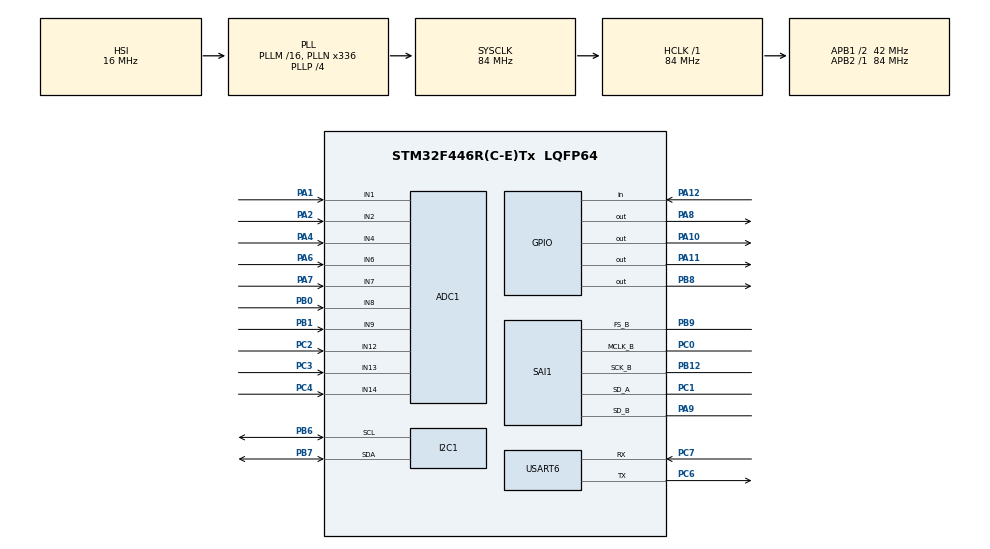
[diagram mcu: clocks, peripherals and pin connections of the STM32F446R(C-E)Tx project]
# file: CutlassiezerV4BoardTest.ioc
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ADC1.Channel-3\#ChannelRegularConversion=ADC_CHANNEL_1
ADC1.NbrOfConversionFlag=1
ADC1.Rank-3\#ChannelRegularConversion=1
ADC1.SamplingTime-3\#ChannelRegularConversion=ADC_SAMPLETIME_3CYCLES
ADC1.master=1
Dma.Request0=SAI1_A
Dma.Request1=SAI1_B
Dma.SAI1_A.0.Direction=DMA_PERIPH_TO_MEMORY
Dma.SAI1_A.0.FIFOMode=DMA_FIFOMODE_ENABLE
Dma.SAI1_A.0.FIFOThreshold=DMA_FIFO_THRESHOLD_1QUARTERFULL
Dma.SAI1_A.0.Instance=DMA2_Stream1
Dma.SAI1_A.0.MemBurst=DMA_MBURST_SINGLE
Dma.SAI1_A.0.MemDataAlignment=DMA_MDATAALIGN_HALFWORD
Dma.SAI1_A.0.MemInc=DMA_MINC_ENABLE
Dma.SAI1_A.0.Mode=DMA_CIRCULAR
Dma.SAI1_A.0.PeriphBurst=DMA_PBURST_SINGLE
Dma.SAI1_A.0.PeriphDataAlignment=DMA_PDATAALIGN_HALFWORD
Dma.SAI1_A.0.PeriphInc=DMA_PINC_DISABLE
Dma.SAI1_A.0.Priority=DMA_PRIORITY_LOW
Dma.SAI1_B.1.Direction=DMA_MEMORY_TO_PERIPH
Dma.SAI1_B.1.FIFOMode=DMA_FIFOMODE_ENABLE
Dma.SAI1_B.1.FIFOThreshold=DMA_FIFO_THRESHOLD_1QUARTERFULL
Dma.SAI1_B.1.Instance=DMA2_Stream4
Dma.SAI1_B.1.MemBurst=DMA_MBURST_SINGLE
Dma.SAI1_B.1.MemDataAlignment=DMA_MDATAALIGN_HALFWORD
Dma.SAI1_B.1.MemInc=DMA_MINC_ENABLE
Dma.SAI1_B.1.Mode=DMA_CIRCULAR
Dma.SAI1_B.1.PeriphBurst=DMA_PBURST_SINGLE
Dma.SAI1_B.1.PeriphDataAlignment=DMA_PDATAALIGN_HALFWORD
Dma.SAI1_B.1.PeriphInc=DMA_PINC_DISABLE
Dma.SAI1_B.1.Priority=DMA_PRIORITY_LOW
Mcu.Family=STM32F4
Mcu.Name=STM32F446R(C-E)Tx
Mcu.Package=LQFP64
NVIC.DMA2_Stream1_IRQn=true\:0\:0\:false\:false\:true\:false\:true
NVIC.DMA2_Stream4_IRQn=true\:0\:0\:false\:false\:true\:false\:true
NVIC.PriorityGroup=NVIC_PRIORITYGROUP_4
PA1.Signal=ADCx_IN1
PA10.Signal=GPIO_Output
PA11.Signal=GPIO_Output
PA12.GPIO_PuPd=GPIO_PULLUP
PA12.Signal=GPIO_Input
PA13.Mode=Serial_Wire
PA13.Signal=SYS_JTMS-SWDIO
PA14.Mode=Serial_Wire
PA14.Signal=SYS_JTCK-SWCLK
PA2.Signal=ADCx_IN2
PA4.Signal=ADCx_IN4
PA6.Signal=ADCx_IN6
PA7.Signal=ADCx_IN7
PA8.Signal=GPIO_Output
PA9.Mode=SAI_B_MasterWithClock
PA9.Signal=SAI1_SD_B
PB0.Signal=ADCx_IN8
PB1.Signal=ADCx_IN9
PB12.Mode=SAI_B_MasterWithClock
PB12.Signal=SAI1_SCK_B
PB3.Signal=SYS_JTDO-SWO
PB6.Mode=I2C
PB6.Signal=I2C1_SCL
PB7.Mode=I2C
PB7.Signal=I2C1_SDA
PB8.Signal=GPIO_Output
PB9.Mode=SAI_B_MasterWithClock
PB9.Signal=SAI1_FS_B
PC0.Mode=SAI_B_MasterWithClock
PC0.Signal=SAI1_MCLK_B
PC1.Mode=SAI_A_SyncSlave
PC1.Signal=SAI1_SD_A
PC2.Signal=ADCx_IN12
PC3.Signal=ADCx_IN13
PC4.Signal=ADCx_IN14
PC6.Mode=Asynchronous
PC6.Signal=USART6_TX
PC7.Mode=Asynchronous
PC7.Signal=USART6_RX
PH0-OSC_IN.Mode=HSE-External-Oscillator
PH0-OSC_IN.Signal=RCC_OSC_IN
PH1-OSC_OUT.Mode=HSE-External-Oscillator
PH1-OSC_OUT.Signal=RCC_OSC_OUT
ProjectManager.HeapSize=0x200
ProjectManager.StackSize=0x400
ProjectManager.TargetToolchain=STM32CubeIDE
RCC.AHBFreq_Value=84000000
RCC.APB1CLKDivider=RCC_HCLK_DIV2
RCC.APB1Freq_Value=42000000
RCC.APB1TimFreq_Value=84000000
RCC.APB2Freq_Value=84000000
RCC.APB2TimFreq_Value=84000000
RCC.CortexFreq_Value=84000000
RCC.HCLKFreq_Value=84000000
RCC.HSE_VALUE=8000000
RCC.PLLN=336
RCC.PLLP=RCC_PLLP_DIV4
RCC.SYSCLKFreq_VALUE=84000000
RCC.SYSCLKSource=RCC_SYSCLKSOURCE_PLLCLK
RCC.USBFreq_Value=168000000
RCC.VCOOutputFreq_Value=336000000
SAI1.AudioFrequency-SAI_B_MasterWithClock=SAI_AUDIO_FREQUENCY_44K
SAI1.ErrorAudioFreq-SAI_B_MasterWithClock=6.53 %
SAI1.FIFOThreshold-SAI_A_SyncSlave=SAI_FIFOTHRESHOLD_1QF
SAI1.FIFOThreshold-SAI_B_MasterWithClock=SAI_FIFOTHRESHOLD_1QF
SAI1.InitProtocol-SAI_A_SyncSlave=Enable
SAI1.InitProtocol-SAI_B_MasterWithClock=Enable
SAI1.Instance-SAI_A_SyncSlave=SAI$Index_Block_A
SAI1.Instance-SAI_B_MasterWithClock=SAI$Index_Block_B
SAI1.MClockEnable-SAI_B_MasterWithClock=SAI_MASTERCLOCK_ENABLE
SAI1.OutputDrive-SAI_A_SyncSlave=SAI_OUTPUTDRIVE_ENABLE
SAI1.OutputDrive-SAI_B_MasterWithClock=SAI_OUTPUTDRIVE_ENABLE
SAI1.RealAudioFreq-SAI_B_MasterWithClock=46.875 KHz
SAI1.SynchroExt=SAI_SYNCEXT_OUTBLOCKB_ENABLE
SAI1.VirtualMode-SAI_A_SyncSlave=VM_SLAVE
SAI1.VirtualMode-SAI_B_MasterWithClock=VM_MASTER
SAI1.VirtualProtocol-SAI_A_BASIC=VM_BASIC_PROTOCOL
SAI1.VirtualProtocol-SAI_B_BASIC=VM_BASIC_PROTOCOL
SH.ADCx_IN1.0=ADC1_IN1,IN1
SH.ADCx_IN12.0=ADC1_IN12,IN12
SH.ADCx_IN13.0=ADC1_IN13,IN13
SH.ADCx_IN14.0=ADC1_IN14,IN14
SH.ADCx_IN2.0=ADC1_IN2,IN2
SH.ADCx_IN4.0=ADC1_IN4,IN4
SH.ADCx_IN6.0=ADC1_IN6,IN6
SH.ADCx_IN7.0=ADC1_IN7,IN7
SH.ADCx_IN8.0=ADC1_IN8,IN8
SH.ADCx_IN9.0=ADC1_IN9,IN9
USART6.VirtualMode=VM_ASYNC
VP_SAI1_VP_$IpInstance_SAIA_SAI_BASIC.Mode=SAI_A_BASIC
VP_SAI1_VP_$IpInstance_SAIB_SAI_BASIC.Mode=SAI_B_BASIC
VP_SAI1_VP_$IpInstance_SYNCHRO_EXTERNAL.Mode=SynchroExternal
board=custom

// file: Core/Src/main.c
/* USER CODE BEGIN Header */
/**
  ******************************************************************************
  * @file           : main.c
  * @brief          : Main program body
  ******************************************************************************
  * @attention
  *
  * <h2><center>&copy; Copyright (c) 2020 STMicroelectronics.
  * All rights reserved.</center></h2>
  *
  * This software component is licensed by ST under BSD 3-Clause license,
  * the "License"; You may not use this file except in compliance with the
  * License. You may obtain a copy of the License at:
  *                        opensource.org/licenses/BSD-3-Clause
  *
  ******************************************************************************
  */
/* USER CODE END Header */

#include "main.h"

/* USER CODE BEGIN Includes */
#include <stdio.h>
#include "SoundEngine.h"

/* USER CODE END Includes */

ADC_HandleTypeDef hadc1;

I2C_HandleTypeDef hi2c1;

SAI_HandleTypeDef hsai_BlockA1;
SAI_HandleTypeDef hsai_BlockB1;
DMA_HandleTypeDef hdma_sai1_a;
DMA_HandleTypeDef hdma_sai1_b;

UART_HandleTypeDef huart6;

/* USER CODE BEGIN PV */
static volatile int colour_index = 0;
/* USER CODE END PV */

void SystemClock_Config(void);
static void MX_GPIO_Init(void);
static void MX_DMA_Init(void);
static void MX_SAI1_Init(void);
static void MX_I2C1_Init(void);
static void MX_USART6_UART_Init(void);
static void MX_ADC1_Init(void);

/* USER CODE BEGIN 0 */

void HAL_GPIO_EXTI_Callback(uint16_t GPIO_Pin)
{
	if( GPIO_Pin == GPIO_PIN_4 )
	{
		colour_index = (colour_index + 1 ) % 3;
	}
}

void swap_from_adc_to_gpio_interrupt( GPIO_TypeDef* bank, uint32_t pin_mask, IRQn_Type interrupt )
{
	HAL_GPIO_DeInit(bank, pin_mask);

	GPIO_InitTypeDef GPIO_InitStruct = {0};

    GPIO_InitStruct.Pin		= pin_mask;
    GPIO_InitStruct.Mode	= GPIO_MODE_IT_RISING;
    GPIO_InitStruct.Pull	= GPIO_NOPULL;
    HAL_GPIO_Init(bank, &GPIO_InitStruct);

    HAL_NVIC_SetPriority(interrupt, 0, 0);
    HAL_NVIC_EnableIRQ(interrupt);
}

void swap_from_gpio_interrupt_to_adc( GPIO_TypeDef* bank, uint32_t pin_mask, IRQn_Type interrupt )
{
	HAL_GPIO_DeInit(bank, pin_mask);

	GPIO_InitTypeDef GPIO_InitStruct = {0};

    GPIO_InitStruct.Pin		= pin_mask;
    GPIO_InitStruct.Mode	= GPIO_MODE_ANALOG;
    GPIO_InitStruct.Pull	= GPIO_NOPULL;
    HAL_GPIO_Init(bank, &GPIO_InitStruct);

    HAL_NVIC_DisableIRQ(interrupt);
}

/* USER CODE END 0 */

int main(void)
{

  /* MCU Configuration--------------------------------------------------------*/

  /* Reset of all peripherals, Initializes the Flash interface and the Systick. */
  HAL_Init();

  /* Configure the system clock */
  SystemClock_Config();

  /* Initialize all configured peripherals */
  MX_GPIO_Init();
  MX_DMA_Init();
  MX_SAI1_Init();
  MX_I2C1_Init();
  MX_USART6_UART_Init();
  MX_ADC1_Init();
  /* USER CODE BEGIN 2 */
  initialise_sound_engine();
  /* USER CODE END 2 */

  /* Infinite loop */
  /* USER CODE BEGIN WHILE */

  while (1)
  {
	  static int colour_pin[3] = { GPIO_PIN_10, GPIO_PIN_11, GPIO_PIN_8 };

	  for( int i = 0; i < 3; ++i )
	  {
		  if( i == colour_index )
		  {
			  HAL_GPIO_WritePin(GPIOA, colour_pin[i], GPIO_PIN_SET);
		  }
		  else
		  {
			  HAL_GPIO_WritePin(GPIOA, colour_pin[i], GPIO_PIN_RESET);
		  }
	  }

	  static int mode = 0;
	  if( mode == 0 )
	  {
		  // Get ADC value
		  ADC_ChannelConfTypeDef adc_config = {0};
		  adc_config.Channel = ADC_CHANNEL_14;
		  adc_config.Rank = 1;
		  adc_config.SamplingTime = ADC_SAMPLETIME_3CYCLES;
		  HAL_ADC_ConfigChannel(&hadc1, &adc_config);

		  HAL_ADC_Start(&hadc1);
		  HAL_ADC_PollForConversion(&hadc1, HAL_MAX_DELAY);
		  int val = HAL_ADC_GetValue(&hadc1);

		  static int half_cycle = 0;
		  int midpoint = 2048;

		  if( !half_cycle )
		  {
			  if( val > midpoint )
			  {
				  half_cycle = 1;
			  }
		  }
		  else if( val < midpoint )
		  {
			  colour_index = (colour_index + 1) % 3;
			  half_cycle = 0;
		  }
	  }

	  static int counter = 0;

	  if( ++counter % 5000 == 0 )
	  {
		  if( mode == 0 )
		  {
			  mode = 1;

			  swap_from_adc_to_gpio_interrupt(GPIOC, GPIO_PIN_4, EXTI4_IRQn);
		  }
		  else
		  {
			  mode = 0;

			  swap_from_gpio_interrupt_to_adc(GPIOC, GPIO_PIN_4, EXTI4_IRQn);
		  }
	  }

	  HAL_Delay(1);

    /* USER CODE END WHILE */

    /* USER CODE BEGIN 3 */
  }

//  while (1)
//  {
//	  static int colour_pin[3] = { GPIO_PIN_10, GPIO_PIN_11, GPIO_PIN_8 };
//	  static int colour = 0;
//	  static int led_on = 1;
//
//	  //led_on = HAL_GPIO_ReadPin(GPIOA, GPIO_PIN_12) == GPIO_PIN_SET;
//	  led_on = !led_on;
//
//	  if( led_on )
//	  {
//		  HAL_GPIO_WritePin(GPIOA, colour_pin[colour], GPIO_PIN_SET);
//	  }
//	  else
//	  {
//		  HAL_GPIO_WritePin(GPIOA, colour_pin[colour], GPIO_PIN_RESET);
//	  }
//
//	  if( !led_on )
//	  {
//		  colour = (colour + 1) % 3;
//	  }
//	  //led_on = !led_on;
//
//	  // Get ADC value
//	  ADC_ChannelConfTypeDef adc_config = {0};
//	  adc_config.Channel = ADC_CHANNEL_14;
//	  adc_config.Rank = 1;
//	  adc_config.SamplingTime = ADC_SAMPLETIME_3CYCLES;
//	  HAL_ADC_ConfigChannel(&hadc1, &adc_config);
//
//	  HAL_ADC_Start(&hadc1);
//	  HAL_ADC_PollForConversion(&hadc1, HAL_MAX_DELAY);
//	  int val = HAL_ADC_GetValue(&hadc1);
//
//	  char msg[256];
//	  sprintf(msg, "%hu\r\n", val);
//	  HAL_UART_Transmit( &huart6, (uint8_t*)msg, strlen(msg), HAL_MAX_DELAY );
//
//	  HAL_Delay(1000);
//    /* USER CODE END WHILE */
//
//    /* USER CODE BEGIN 3 */
//  }
  /* USER CODE END 3 */
}

void SystemClock_Config(void)
{
  RCC_OscInitTypeDef RCC_OscInitStruct = {0};
  RCC_ClkInitTypeDef RCC_ClkInitStruct = {0};
  RCC_PeriphCLKInitTypeDef PeriphClkInitStruct = {0};

  /** Configure the main internal regulator output voltage
  */
  __HAL_RCC_PWR_CLK_ENABLE();
  __HAL_PWR_VOLTAGESCALING_CONFIG(PWR_REGULATOR_VOLTAGE_SCALE3);
  /** Initializes the CPU, AHB and APB busses clocks
  */
  RCC_OscInitStruct.OscillatorType = RCC_OSCILLATORTYPE_HSI;
  RCC_OscInitStruct.HSIState = RCC_HSI_ON;
  RCC_OscInitStruct.HSICalibrationValue = RCC_HSICALIBRATION_DEFAULT;
  RCC_OscInitStruct.PLL.PLLState = RCC_PLL_ON;
  RCC_OscInitStruct.PLL.PLLSource = RCC_PLLSOURCE_HSI;
  RCC_OscInitStruct.PLL.PLLM = 16;
  RCC_OscInitStruct.PLL.PLLN = 336;
  RCC_OscInitStruct.PLL.PLLP = RCC_PLLP_DIV4;
  RCC_OscInitStruct.PLL.PLLQ = 2;
  RCC_OscInitStruct.PLL.PLLR = 2;
  if (HAL_RCC_OscConfig(&RCC_OscInitStruct) != HAL_OK)
  {
    Error_Handler();
  }
  /** Initializes the CPU, AHB and APB busses clocks
  */
  RCC_ClkInitStruct.ClockType = RCC_CLOCKTYPE_HCLK|RCC_CLOCKTYPE_SYSCLK
                              |RCC_CLOCKTYPE_PCLK1|RCC_CLOCKTYPE_PCLK2;
  RCC_ClkInitStruct.SYSCLKSource = RCC_SYSCLKSOURCE_PLLCLK;
  RCC_ClkInitStruct.AHBCLKDivider = RCC_SYSCLK_DIV1;
  RCC_ClkInitStruct.APB1CLKDivider = RCC_HCLK_DIV2;
  RCC_ClkInitStruct.APB2CLKDivider = RCC_HCLK_DIV1;

  if (HAL_RCC_ClockConfig(&RCC_ClkInitStruct, FLASH_LATENCY_2) != HAL_OK)
  {
    Error_Handler();
  }
  PeriphClkInitStruct.PeriphClockSelection = RCC_PERIPHCLK_SAI1;
  PeriphClkInitStruct.PLLSAI.PLLSAIM = 16;
  PeriphClkInitStruct.PLLSAI.PLLSAIN = 192;
  PeriphClkInitStruct.PLLSAI.PLLSAIQ = 2;
  PeriphClkInitStruct.PLLSAI.PLLSAIP = RCC_PLLSAIP_DIV2;
  PeriphClkInitStruct.PLLSAIDivQ = 1;
  PeriphClkInitStruct.Sai1ClockSelection = RCC_SAI1CLKSOURCE_PLLSAI;
  if (HAL_RCCEx_PeriphCLKConfig(&PeriphClkInitStruct) != HAL_OK)
  {
    Error_Handler();
  }
}

static void MX_ADC1_Init(void)
{

  ADC_ChannelConfTypeDef sConfig = {0};

  /** Configure the global features of the ADC (Clock, Resolution, Data Alignment and number of conversion)
  */
  hadc1.Instance = ADC1;
  hadc1.Init.ClockPrescaler = ADC_CLOCK_SYNC_PCLK_DIV4;
  hadc1.Init.Resolution = ADC_RESOLUTION_12B;
  hadc1.Init.ScanConvMode = DISABLE;
  hadc1.Init.ContinuousConvMode = DISABLE;
  hadc1.Init.DiscontinuousConvMode = DISABLE;
  hadc1.Init.ExternalTrigConvEdge = ADC_EXTERNALTRIGCONVEDGE_NONE;
  hadc1.Init.ExternalTrigConv = ADC_SOFTWARE_START;
  hadc1.Init.DataAlign = ADC_DATAALIGN_RIGHT;
  hadc1.Init.NbrOfConversion = 1;
  hadc1.Init.DMAContinuousRequests = DISABLE;
  hadc1.Init.EOCSelection = ADC_EOC_SINGLE_CONV;
  if (HAL_ADC_Init(&hadc1) != HAL_OK)
  {
    Error_Handler();
  }
  /** Configure for the selected ADC regular channel its corresponding rank in the sequencer and its sample time.
  */
  sConfig.Channel = ADC_CHANNEL_1;
  sConfig.Rank = 1;
  sConfig.SamplingTime = ADC_SAMPLETIME_3CYCLES;
  if (HAL_ADC_ConfigChannel(&hadc1, &sConfig) != HAL_OK)
  {
    Error_Handler();
  }

}

static void MX_I2C1_Init(void)
{

  hi2c1.Instance = I2C1;
  hi2c1.Init.ClockSpeed = 100000;
  hi2c1.Init.DutyCycle = I2C_DUTYCYCLE_2;
  hi2c1.Init.OwnAddress1 = 0;
  hi2c1.Init.AddressingMode = I2C_ADDRESSINGMODE_7BIT;
  hi2c1.Init.DualAddressMode = I2C_DUALADDRESS_DISABLE;
  hi2c1.Init.OwnAddress2 = 0;
  hi2c1.Init.GeneralCallMode = I2C_GENERALCALL_DISABLE;
  hi2c1.Init.NoStretchMode = I2C_NOSTRETCH_DISABLE;
  if (HAL_I2C_Init(&hi2c1) != HAL_OK)
  {
    Error_Handler();
  }

}

static void MX_SAI1_Init(void)
{

  hsai_BlockA1.Instance = SAI1_Block_A;
  hsai_BlockA1.Init.AudioMode = SAI_MODESLAVE_RX;
  hsai_BlockA1.Init.Synchro = SAI_SYNCHRONOUS;
  hsai_BlockA1.Init.OutputDrive = SAI_OUTPUTDRIVE_ENABLE;
  hsai_BlockA1.Init.FIFOThreshold = SAI_FIFOTHRESHOLD_1QF;
  hsai_BlockA1.Init.SynchroExt = SAI_SYNCEXT_OUTBLOCKB_ENABLE;
  hsai_BlockA1.Init.MonoStereoMode = SAI_STEREOMODE;
  hsai_BlockA1.Init.CompandingMode = SAI_NOCOMPANDING;
  hsai_BlockA1.Init.TriState = SAI_OUTPUT_NOTRELEASED;
  if (HAL_SAI_InitProtocol(&hsai_BlockA1, SAI_I2S_STANDARD, SAI_PROTOCOL_DATASIZE_16BIT, 2) != HAL_OK)
  {
    Error_Handler();
  }
  hsai_BlockB1.Instance = SAI1_Block_B;
  hsai_BlockB1.Init.AudioMode = SAI_MODEMASTER_TX;
  hsai_BlockB1.Init.Synchro = SAI_ASYNCHRONOUS;
  hsai_BlockB1.Init.OutputDrive = SAI_OUTPUTDRIVE_ENABLE;
  hsai_BlockB1.Init.NoDivider = SAI_MASTERDIVIDER_ENABLE;
  hsai_BlockB1.Init.FIFOThreshold = SAI_FIFOTHRESHOLD_1QF;
  hsai_BlockB1.Init.ClockSource = SAI_CLKSOURCE_NA;
  hsai_BlockB1.Init.AudioFrequency = SAI_AUDIO_FREQUENCY_44K;
  hsai_BlockB1.Init.SynchroExt = SAI_SYNCEXT_OUTBLOCKB_ENABLE;
  hsai_BlockB1.Init.MonoStereoMode = SAI_STEREOMODE;
  hsai_BlockB1.Init.CompandingMode = SAI_NOCOMPANDING;
  hsai_BlockB1.Init.TriState = SAI_OUTPUT_NOTRELEASED;
  if (HAL_SAI_InitProtocol(&hsai_BlockB1, SAI_I2S_STANDARD, SAI_PROTOCOL_DATASIZE_16BIT, 2) != HAL_OK)
  {
    Error_Handler();
  }

}

static void MX_USART6_UART_Init(void)
{

  huart6.Instance = USART6;
  huart6.Init.BaudRate = 115200;
  huart6.Init.WordLength = UART_WORDLENGTH_8B;
  huart6.Init.StopBits = UART_STOPBITS_1;
  huart6.Init.Parity = UART_PARITY_NONE;
  huart6.Init.Mode = UART_MODE_TX_RX;
  huart6.Init.HwFlowCtl = UART_HWCONTROL_NONE;
  huart6.Init.OverSampling = UART_OVERSAMPLING_16;
  if (HAL_UART_Init(&huart6) != HAL_OK)
  {
    Error_Handler();
  }

}

static void MX_DMA_Init(void)
{

  /* DMA controller clock enable */
  __HAL_RCC_DMA2_CLK_ENABLE();

  /* DMA interrupt init */
  /* DMA2_Stream1_IRQn interrupt configuration */
  HAL_NVIC_SetPriority(DMA2_Stream1_IRQn, 0, 0);
  HAL_NVIC_EnableIRQ(DMA2_Stream1_IRQn);
  /* DMA2_Stream4_IRQn interrupt configuration */
  HAL_NVIC_SetPriority(DMA2_Stream4_IRQn, 0, 0);
  HAL_NVIC_EnableIRQ(DMA2_Stream4_IRQn);

}

static void MX_GPIO_Init(void)
{
  GPIO_InitTypeDef GPIO_InitStruct = {0};

  /* GPIO Ports Clock Enable */
  __HAL_RCC_GPIOH_CLK_ENABLE();
  __HAL_RCC_GPIOC_CLK_ENABLE();
  __HAL_RCC_GPIOA_CLK_ENABLE();
  __HAL_RCC_GPIOB_CLK_ENABLE();

  /*Configure GPIO pin Output Level */
  HAL_GPIO_WritePin(GPIOA, GPIO_PIN_8|GPIO_PIN_10|GPIO_PIN_11, GPIO_PIN_RESET);

  /*Configure GPIO pin Output Level */
  HAL_GPIO_WritePin(GPIOB, GPIO_PIN_8, GPIO_PIN_RESET);

  /*Configure GPIO pins : PA8 PA10 PA11 */
  GPIO_InitStruct.Pin = GPIO_PIN_8|GPIO_PIN_10|GPIO_PIN_11;
  GPIO_InitStruct.Mode = GPIO_MODE_OUTPUT_PP;
  GPIO_InitStruct.Pull = GPIO_NOPULL;
  GPIO_InitStruct.Speed = GPIO_SPEED_FREQ_LOW;
  HAL_GPIO_Init(GPIOA, &GPIO_InitStruct);

  /*Configure GPIO pin : PA12 */
  GPIO_InitStruct.Pin = GPIO_PIN_12;
  GPIO_InitStruct.Mode = GPIO_MODE_INPUT;
  GPIO_InitStruct.Pull = GPIO_PULLUP;
  HAL_GPIO_Init(GPIOA, &GPIO_InitStruct);

  /*Configure GPIO pin : PB8 */
  GPIO_InitStruct.Pin = GPIO_PIN_8;
  GPIO_InitStruct.Mode = GPIO_MODE_OUTPUT_PP;
  GPIO_InitStruct.Pull = GPIO_NOPULL;
  GPIO_InitStruct.Speed = GPIO_SPEED_FREQ_LOW;
  HAL_GPIO_Init(GPIOB, &GPIO_InitStruct);

}

void Error_Handler(void)
{
}

/************************ (C) COPYRIGHT STMicroelectronics *****END OF FILE****/
